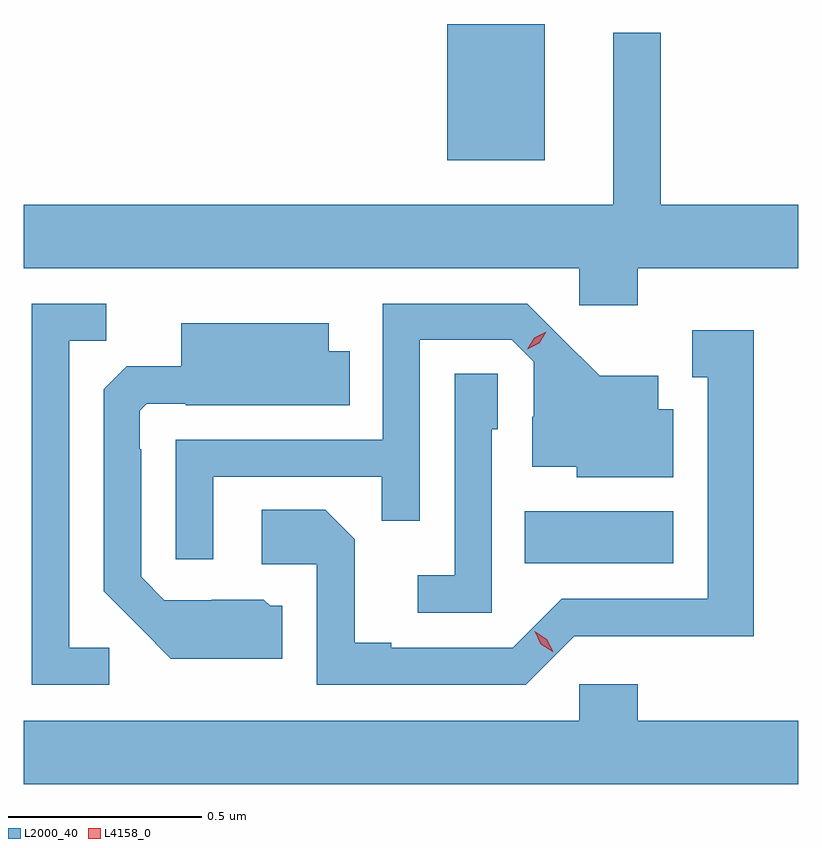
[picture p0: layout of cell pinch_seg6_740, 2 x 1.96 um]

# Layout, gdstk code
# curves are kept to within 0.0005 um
import gdstk
lib = gdstk.Library(unit=1e-6, precision=1e-09)
def R(c, l, rs):  # rectangles x0, y0, x1, y1
    for r in rs: c.add(gdstk.rectangle(r[:2], r[2:], *l))
def P(c, l, *ps):  # polygons
    for p in ps: c.add(gdstk.Polygon(p, *l))
L2000_40 = (2000, 40)
L4158_0 = (4158, 0)

pinch_seg6_740 = lib.new_cell('pinch_seg6_740')
R(pinch_seg6_740, L2000_40, [(623.326,947.906,623.71,948.04), (623.126,948.947,623.377,949.299)])
P(pinch_seg6_740, L2000_40, [(623.618,948.668),(624.032,948.668),(624.032,948.832),(623.677,948.832),(623.677,949.276),(623.555,949.276),(623.555,948.832),(622.032,948.832),(622.032,948.668),(623.466,948.668),(623.466,948.573),(623.618,948.573)],
  [(622.252,947.688),(622.149,947.688),(622.149,948.481),(622.245,948.481),(622.245,948.576),(622.053,948.576),(622.053,947.592),(622.252,947.592)],
  [(622.521,948.129),(622.957,948.129),(622.957,948.016),(623.055,948.016),(623.055,948.483),(623.292,948.483),(623.349,948.426),(623.349,948.284),(623.345,948.284),(623.345,948.155),(623.46,948.155),(623.46,948.128),(623.71,948.128),(623.71,948.304),(623.671,948.304),(623.671,948.391),(623.519,948.391),(623.332,948.576),(622.959,948.576),(622.959,948.225),(622.425,948.225),(622.425,947.916),(622.521,947.916)],
  [(622.699,947.796),(622.668,947.796),(622.652,947.812),(622.518,947.812),(622.518,947.811),(622.395,947.811),(622.335,947.871),(622.335,948.2),(622.332,948.2),(622.332,948.3),(622.35,948.318),(622.45,948.318),(622.45,948.314),(622.874,948.314),(622.874,948.454),(622.819,948.454),(622.819,948.526),(622.439,948.526),(622.439,948.415),(622.298,948.415),(622.239,948.356),(622.239,947.834),(622.411,947.66),(622.699,947.66)],
  [(623.454,947.718),(623.676,947.718),(623.676,947.717),(623.917,947.717),(623.917,948.508),(623.759,948.508),(623.759,948.387),(623.798,948.387),(623.798,947.814),(623.421,947.814),(623.295,947.688),(622.981,947.688),(622.981,947.701),(622.887,947.701),(622.887,947.968),(622.811,948.044),(622.647,948.044),(622.647,947.904),(622.788,947.904),(622.788,947.592),(623.328,947.592)],
  [(623.241,948.252),(623.256,948.252),(623.256,948.395),(623.145,948.395),(623.145,947.875),(623.049,947.875),(623.049,947.778),(623.241,947.778)],
  [(624.032,947.5),(623.618,947.5),(623.618,947.593),(623.466,947.593),(623.466,947.5),(622.032,947.5),(622.032,947.336),(624.032,947.336)])
P(pinch_seg6_740, L4158_0, [(623.398,947.677),(623.367,947.697),(623.351,947.73),(623.351,947.73),(623.351,947.73),(623.382,947.71),(623.399,947.678),(623.399,947.677)],
  [(623.332,948.459),(623.332,948.459),(623.35,948.489),(623.381,948.504),(623.381,948.504),(623.381,948.504),(623.363,948.474),(623.332,948.459)])

lib.write_gds('pinch_seg6_740.gds')
